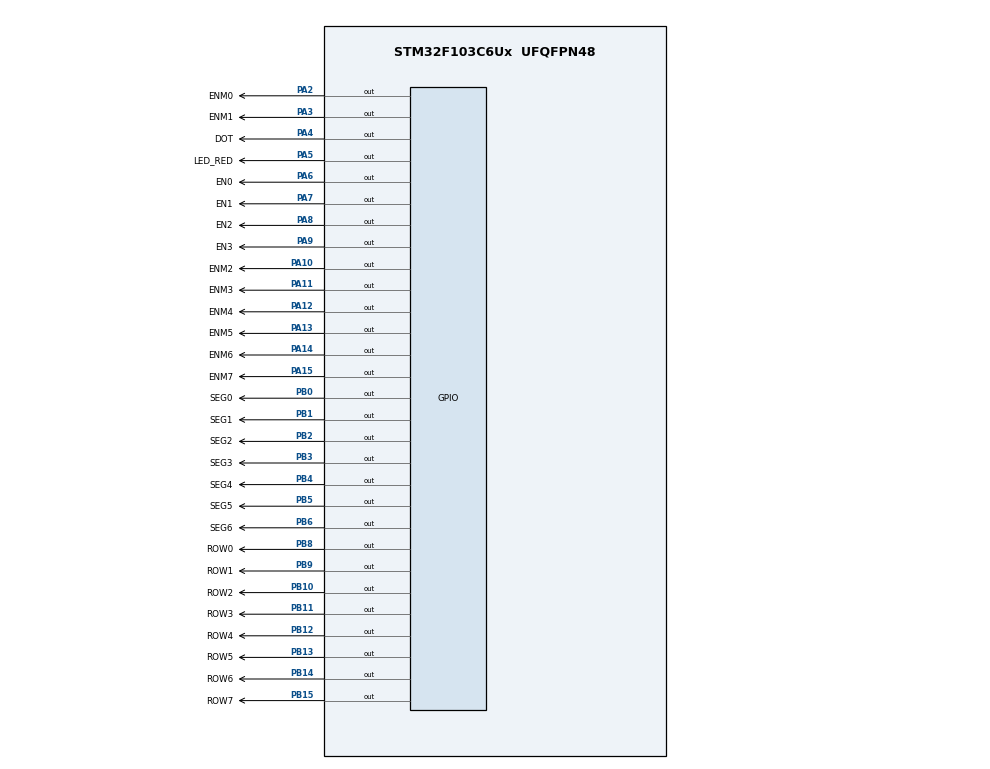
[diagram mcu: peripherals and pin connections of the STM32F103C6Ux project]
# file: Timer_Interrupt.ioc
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Mcu.Family=STM32F1
Mcu.Name=STM32F103C6Ux
Mcu.Package=UFQFPN48
NVIC.PriorityGroup=NVIC_PRIORITYGROUP_4
NVIC.TIM2_IRQn=true\:0\:0\:false\:false\:true\:true\:true
PA10.GPIO_Label=ENM2
PA10.Signal=GPIO_Output
PA11.GPIO_Label=ENM3
PA11.Signal=GPIO_Output
PA12.GPIO_Label=ENM4
PA12.Signal=GPIO_Output
PA13.GPIO_Label=ENM5
PA13.Signal=GPIO_Output
PA14.GPIO_Label=ENM6
PA14.Signal=GPIO_Output
PA15.GPIO_Label=ENM7
PA15.Signal=GPIO_Output
PA2.GPIO_Label=ENM0
PA2.Signal=GPIO_Output
PA3.GPIO_Label=ENM1
PA3.Signal=GPIO_Output
PA4.GPIO_Label=DOT
PA4.Signal=GPIO_Output
PA5.GPIO_Label=LED_RED
PA5.Signal=GPIO_Output
PA6.GPIO_Label=EN0
PA6.Signal=GPIO_Output
PA7.GPIO_Label=EN1
PA7.Signal=GPIO_Output
PA8.GPIO_Label=EN2
PA8.Signal=GPIO_Output
PA9.GPIO_Label=EN3
PA9.Signal=GPIO_Output
PB0.GPIO_Label=SEG0
PB0.Signal=GPIO_Output
PB1.GPIO_Label=SEG1
PB1.Signal=GPIO_Output
PB10.GPIO_Label=ROW2
PB10.Signal=GPIO_Output
PB11.GPIO_Label=ROW3
PB11.Signal=GPIO_Output
PB12.GPIO_Label=ROW4
PB12.Signal=GPIO_Output
PB13.GPIO_Label=ROW5
PB13.Signal=GPIO_Output
PB14.GPIO_Label=ROW6
PB14.Signal=GPIO_Output
PB15.GPIO_Label=ROW7
PB15.Signal=GPIO_Output
PB2.GPIO_Label=SEG2
PB2.Signal=GPIO_Output
PB3.GPIO_Label=SEG3
PB3.Signal=GPIO_Output
PB4.GPIO_Label=SEG4
PB4.Signal=GPIO_Output
PB5.GPIO_Label=SEG5
PB5.Signal=GPIO_Output
PB6.GPIO_Label=SEG6
PB6.Signal=GPIO_Output
PB8.GPIO_Label=ROW0
PB8.Signal=GPIO_Output
PB9.GPIO_Label=ROW1
PB9.Signal=GPIO_Output
ProjectManager.HeapSize=0x200
ProjectManager.StackSize=0x400
ProjectManager.TargetToolchain=STM32CubeIDE
RCC.APB1Freq_Value=8000000
RCC.APB2Freq_Value=8000000
TIM2.Period=9
TIM2.Prescaler=7999
VP_SYS_VS_ND.Mode=No_Debug
VP_TIM2_VS_ClockSourceINT.Mode=Internal
board=custom

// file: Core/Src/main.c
/* USER CODE BEGIN Header */
/**
  ******************************************************************************
  * @file           : main.c
  * @brief          : Main program body
  ******************************************************************************
  * @attention
  *
  * <h2><center>&copy; Copyright (c) 2023 STMicroelectronics.
  * All rights reserved.</center></h2>
  *
  * This software component is licensed by ST under BSD 3-Clause license,
  * the "License"; You may not use this file except in compliance with the
  * License. You may obtain a copy of the License at:
  *                        opensource.org/licenses/BSD-3-Clause
  *
  ******************************************************************************
  */
/* USER CODE END Header */
#include "main.h"

TIM_HandleTypeDef htim2;

void SystemClock_Config(void);
static void MX_GPIO_Init(void);
static void MX_TIM2_Init(void);

/* USER CODE BEGIN 0 */

int timer0_counter = 0;
int timer1_counter = 0;
int timer2_couter = 0;
int timer3_counter = 0;
int timer4_counter = 0;
int timer0_flag = 0;
int timer1_flag = 0;
int timer2_flag = 0;
int timer3_flag = 0;
int timer4_flag = 0;
int TIMER_CYCLE = 10;  //10ms

void setTimer0(int duration)
{
	timer0_counter = duration / TIMER_CYCLE;
	timer0_flag = 0;
}

void setTimer1(int duration)
{
	timer1_counter = duration / TIMER_CYCLE;
	timer1_flag = 0;
}

void setTimer2(int duration)
{
	timer2_couter = duration / TIMER_CYCLE;
	timer2_flag = 0;
}

void setTimer3(int duration)
{
	timer3_counter = duration / TIMER_CYCLE;
	timer3_flag = 0;
}

void setTimer4(int duration)
{
	timer4_counter = duration / TIMER_CYCLE;
	timer4_flag = 0;
}

void timer_run()
{
	if(timer0_counter > 0)
	{
		timer0_counter--;
		if(timer0_counter == 0) timer0_flag = 1;
	}

	if(timer1_counter > 0)
	{
		timer1_counter--;
		if(timer1_counter == 0) timer1_flag = 1;
	}

	if(timer2_couter > 0)
	{
		timer2_couter--;
		if(timer2_couter == 0) timer2_flag = 1;
	}

	if(timer3_counter > 0)
	{
		timer3_counter--;
		if(timer3_counter == 0) timer3_flag = 1;
	}

	if(timer4_counter > 0)
	{
		timer4_counter--;
		if(timer4_counter == 0) timer4_flag = 1;
	}
}

const int MAX_LED = 4;
int index_led = 0;  //from 0 to 3
int led_buffer[4] = {2, 3, 4, 5};

int hour, minute, second;

const int MAX_LED_MATRIX = 8;
int index_led_matrix = 0;
uint8_t matrix_buffer[8] = {0x01, 0x02, 0x03, 0x04,
		0x05, 0x06, 0x07, 0x08};

void display7SEG(int num);
void update7SEG(int index);
void updateClockBuffer();
void displayLEDMAtrix(uint8_t value);
void updateLEDMatrix(int index);
void updateMatrixAnimation();

void display7SEG(int num)
{
	if (num == 0)
	{
		HAL_GPIO_WritePin (GPIOB, SEG0_Pin|SEG1_Pin|SEG2_Pin|SEG3_Pin|SEG4_Pin|SEG5_Pin, GPIO_PIN_RESET);
		HAL_GPIO_WritePin (GPIOB, SEG6_Pin, GPIO_PIN_SET);
	}
	else if (num == 1)
	{
		HAL_GPIO_WritePin (GPIOB, SEG1_Pin|SEG2_Pin, GPIO_PIN_RESET);
		HAL_GPIO_WritePin (GPIOB, SEG0_Pin|SEG3_Pin|SEG4_Pin|SEG5_Pin|SEG6_Pin, GPIO_PIN_SET);
	}
	else if (num == 2)
	{
		HAL_GPIO_WritePin (GPIOB, SEG0_Pin|SEG1_Pin|SEG3_Pin|SEG4_Pin|SEG6_Pin, GPIO_PIN_RESET);
		HAL_GPIO_WritePin (GPIOB, SEG2_Pin|SEG5_Pin, GPIO_PIN_SET);
	}
	else if (num == 3)
	{
		HAL_GPIO_WritePin (GPIOB, SEG0_Pin|SEG1_Pin|SEG2_Pin|SEG3_Pin|SEG6_Pin, GPIO_PIN_RESET);
		HAL_GPIO_WritePin (GPIOB, SEG4_Pin|SEG5_Pin, GPIO_PIN_SET);
	}
	else if (num == 4)
	{
		HAL_GPIO_WritePin (GPIOB, SEG1_Pin|SEG2_Pin|SEG5_Pin|SEG6_Pin, GPIO_PIN_RESET);
		HAL_GPIO_WritePin (GPIOB, SEG0_Pin|SEG3_Pin|SEG4_Pin, GPIO_PIN_SET);
	}
	else if (num == 5)
	{
		HAL_GPIO_WritePin (GPIOB, SEG0_Pin|SEG2_Pin|SEG3_Pin|SEG5_Pin|SEG6_Pin, GPIO_PIN_RESET);
		HAL_GPIO_WritePin (GPIOB, SEG1_Pin|SEG4_Pin, GPIO_PIN_SET);
	}
	else if (num == 6)
	{
		HAL_GPIO_WritePin (GPIOB, SEG0_Pin|SEG2_Pin|SEG3_Pin|SEG4_Pin|SEG5_Pin|SEG6_Pin, GPIO_PIN_RESET);
		HAL_GPIO_WritePin (GPIOB, SEG1_Pin, GPIO_PIN_SET);
	}
	else if (num == 7)
	{
		HAL_GPIO_WritePin (GPIOB, SEG0_Pin|SEG1_Pin|SEG2_Pin, GPIO_PIN_RESET);
		HAL_GPIO_WritePin (GPIOB, SEG3_Pin|SEG4_Pin|SEG5_Pin|SEG6_Pin, GPIO_PIN_SET);
	}
	else if (num == 8)
	{
		HAL_GPIO_WritePin (GPIOB, SEG0_Pin|SEG1_Pin|SEG2_Pin|SEG3_Pin|SEG4_Pin|SEG5_Pin|SEG6_Pin, GPIO_PIN_RESET);
	}
	else
	{
		HAL_GPIO_WritePin (GPIOB, SEG0_Pin|SEG1_Pin|SEG2_Pin|SEG3_Pin|SEG5_Pin|SEG6_Pin, GPIO_PIN_RESET);
		HAL_GPIO_WritePin (GPIOB, SEG4_Pin, GPIO_PIN_SET);
	}
}

void update7SEG(int index)
{
	display7SEG(led_buffer[index]);
	switch (index) {
		case 0:
			//Display the first 7SEG with led_buffer[0]
			HAL_GPIO_WritePin(EN0_GPIO_Port, EN0_Pin, RESET);
			HAL_GPIO_WritePin(EN1_GPIO_Port, EN1_Pin, SET);
			HAL_GPIO_WritePin(EN2_GPIO_Port, EN2_Pin, SET);
			HAL_GPIO_WritePin(EN3_GPIO_Port, EN3_Pin, SET);
			break;

		case 1:
			//Display the first 7SEG with led_buffer[1]
			HAL_GPIO_WritePin(EN0_GPIO_Port, EN0_Pin, SET);
			HAL_GPIO_WritePin(EN1_GPIO_Port, EN1_Pin, RESET);
			HAL_GPIO_WritePin(EN2_GPIO_Port, EN2_Pin, SET);
			HAL_GPIO_WritePin(EN3_GPIO_Port, EN3_Pin, SET);
			break;
		case 2:
			//Display the first 7SEG with led_buffer[2]
			HAL_GPIO_WritePin(EN0_GPIO_Port, EN0_Pin, SET);
			HAL_GPIO_WritePin(EN1_GPIO_Port, EN1_Pin, SET);
			HAL_GPIO_WritePin(EN2_GPIO_Port, EN2_Pin, RESET);
			HAL_GPIO_WritePin(EN3_GPIO_Port, EN3_Pin, SET);
			break;
		case 3:
			//Display the first 7SEG with led_buffer[3]
			HAL_GPIO_WritePin(EN0_GPIO_Port, EN0_Pin, SET);
			HAL_GPIO_WritePin(EN1_GPIO_Port, EN1_Pin, SET);
			HAL_GPIO_WritePin(EN2_GPIO_Port, EN2_Pin, SET);
			HAL_GPIO_WritePin(EN3_GPIO_Port, EN3_Pin, RESET);
			break;
		default:
			break;
	}
}

void updateClockBuffer()
{
	//Retrieve the tens digit of the variable 'hour'
	led_buffer[0] = hour / 10;
	//Retrieve the units digit of the variable 'hour'
	led_buffer[1] = hour % 10;
	//Retrieve the tens digit of the variable 'minute'
	led_buffer[2] = minute / 10;
	//Retrieve the units digit of the variable 'minute'
	led_buffer[3] = minute % 10;
}

/*
 * Display character A:
 * 0 0 0 1 1 0 0 0
 * 0 0 1 1 1 1 0 0
 * 0 1 1 0 0 1 1 0
 * 0 1 1 0 0 1 1 0
 * 0 1 1 1 1 1 1 0
 * 0 1 1 1 1 1 1 0
 * 0 1 1 0 0 1 1 0
 * 0 1 1 0 0 1 1 0
 */

void displayLEDMatrix(uint8_t value)
{
	switch (value) {
	case 0x01:
		HAL_GPIO_WritePin (GPIOB, ROW0_Pin|ROW1_Pin|ROW2_Pin|ROW3_Pin|ROW4_Pin
				|ROW5_Pin|ROW6_Pin|ROW7_Pin, GPIO_PIN_SET);
		break;
	case 0x02:
		HAL_GPIO_WritePin (GPIOB, ROW0_Pin|ROW1_Pin, GPIO_PIN_SET);
		HAL_GPIO_WritePin (GPIOB, ROW2_Pin|ROW3_Pin|ROW4_Pin
				|ROW5_Pin|ROW6_Pin|ROW7_Pin, GPIO_PIN_RESET);
		break;
	case 0x03:
		HAL_GPIO_WritePin (GPIOB, ROW0_Pin, GPIO_PIN_SET);
		HAL_GPIO_WritePin (GPIOB, ROW1_Pin|ROW2_Pin|ROW3_Pin|ROW4_Pin
				|ROW5_Pin|ROW6_Pin|ROW7_Pin, GPIO_PIN_RESET);
		break;
	case 0x04:
		HAL_GPIO_WritePin (GPIOB, ROW2_Pin|ROW3_Pin|ROW6_Pin|ROW7_Pin, GPIO_PIN_SET);
		HAL_GPIO_WritePin (GPIOB, ROW0_Pin|ROW1_Pin|ROW4_Pin|ROW5_Pin, GPIO_PIN_RESET);
		break;
	case 0x05:
		HAL_GPIO_WritePin (GPIOB, ROW2_Pin|ROW3_Pin|ROW6_Pin|ROW7_Pin, GPIO_PIN_SET);
		HAL_GPIO_WritePin (GPIOB, ROW0_Pin|ROW1_Pin|ROW4_Pin|ROW5_Pin, GPIO_PIN_RESET);
		break;
	case 0x06:
		HAL_GPIO_WritePin (GPIOB, ROW0_Pin, GPIO_PIN_SET);
		HAL_GPIO_WritePin (GPIOB, ROW1_Pin|ROW2_Pin|ROW3_Pin|ROW4_Pin
				|ROW5_Pin|ROW6_Pin|ROW7_Pin, GPIO_PIN_RESET);
		break;
	case 0x07:
		HAL_GPIO_WritePin (GPIOB, ROW0_Pin|ROW1_Pin, GPIO_PIN_SET);
		HAL_GPIO_WritePin (GPIOB, ROW2_Pin|ROW3_Pin|ROW4_Pin
				|ROW5_Pin|ROW6_Pin|ROW7_Pin, GPIO_PIN_RESET);
		break;
	case 0x08:
		HAL_GPIO_WritePin (GPIOB, ROW0_Pin|ROW1_Pin|ROW2_Pin|ROW3_Pin|ROW4_Pin
				|ROW5_Pin|ROW6_Pin|ROW7_Pin, GPIO_PIN_SET);
		break;
	default:
		HAL_GPIO_WritePin (GPIOB, ROW0_Pin|ROW1_Pin|ROW2_Pin|ROW3_Pin|ROW4_Pin
				|ROW5_Pin|ROW6_Pin|ROW7_Pin, GPIO_PIN_SET);
		break;
	}
}

void updateLEDMatrix(int value)
{
	switch (value){
		case 0:
			HAL_GPIO_WritePin (GPIOA, ENM0_Pin, GPIO_PIN_RESET);
			HAL_GPIO_WritePin (GPIOA, ENM1_Pin|ENM2_Pin|ENM3_Pin|ENM4_Pin
					|ENM5_Pin|ENM6_Pin|ENM7_Pin, GPIO_PIN_SET);
			break;
		case 1:
			HAL_GPIO_WritePin (GPIOA, ENM1_Pin, GPIO_PIN_RESET);
			HAL_GPIO_WritePin (GPIOA, ENM0_Pin|ENM2_Pin|ENM3_Pin|ENM4_Pin
					|ENM5_Pin|ENM6_Pin|ENM7_Pin, GPIO_PIN_SET);
			break;
		case 2:
			HAL_GPIO_WritePin (GPIOA, ENM2_Pin, GPIO_PIN_RESET);
			HAL_GPIO_WritePin (GPIOA, ENM0_Pin|ENM1_Pin|ENM3_Pin|ENM4_Pin
					|ENM5_Pin|ENM6_Pin|ENM7_Pin, GPIO_PIN_SET);
			break;
		case 3:
			HAL_GPIO_WritePin (GPIOA, ENM3_Pin, GPIO_PIN_RESET);
			HAL_GPIO_WritePin (GPIOA, ENM0_Pin|ENM1_Pin|ENM2_Pin|ENM4_Pin
					|ENM5_Pin|ENM6_Pin|ENM7_Pin, GPIO_PIN_SET);
			break;
		case 4:
			HAL_GPIO_WritePin (GPIOA, ENM4_Pin, GPIO_PIN_RESET);
			HAL_GPIO_WritePin (GPIOA, ENM0_Pin|ENM1_Pin|ENM2_Pin|ENM3_Pin
					|ENM5_Pin|ENM6_Pin|ENM7_Pin, GPIO_PIN_SET);
			break;
		case 5:
			HAL_GPIO_WritePin (GPIOA, ENM5_Pin, GPIO_PIN_RESET);
			HAL_GPIO_WritePin (GPIOA, ENM0_Pin|ENM1_Pin|ENM2_Pin|ENM3_Pin
					|ENM4_Pin|ENM6_Pin|ENM7_Pin, GPIO_PIN_SET);
			break;
		case 6:
			HAL_GPIO_WritePin (GPIOA, ENM6_Pin, GPIO_PIN_RESET);
			HAL_GPIO_WritePin (GPIOA, ENM0_Pin|ENM1_Pin|ENM2_Pin|ENM3_Pin
					|ENM4_Pin|ENM5_Pin|ENM7_Pin, GPIO_PIN_SET);
			break;
		case 7:
			HAL_GPIO_WritePin (GPIOA, ENM7_Pin, GPIO_PIN_RESET);
			HAL_GPIO_WritePin (GPIOA, ENM0_Pin|ENM1_Pin|ENM2_Pin|ENM3_Pin
					|ENM4_Pin|ENM5_Pin|ENM6_Pin, GPIO_PIN_SET);
			break;
		default:
			break;
	}
	displayLEDMatrix(matrix_buffer[value]);
}

uint8_t temp;
//The updateMatrixAnimation function is used to shift "A" upward
void updateMatrixAnimation()
{
	temp = matrix_buffer[0];
	matrix_buffer[0] = matrix_buffer[1];
	matrix_buffer[1] = matrix_buffer[2];
	matrix_buffer[2] = matrix_buffer[3];
	matrix_buffer[3] = matrix_buffer[4];
	matrix_buffer[4] = matrix_buffer[5];
	matrix_buffer[5] = matrix_buffer[6];
	matrix_buffer[6] = matrix_buffer[7];
	matrix_buffer[7] = temp;
}

/* USER CODE END 0 */

int main(void)
{

  /* MCU Configuration--------------------------------------------------------*/

  /* Reset of all peripherals, Initializes the Flash interface and the Systick. */
  HAL_Init();

  /* Configure the system clock */
  SystemClock_Config();

  /* Initialize all configured peripherals */
  MX_GPIO_Init();
  MX_TIM2_Init();
  /* USER CODE BEGIN 2 */
  HAL_TIM_Base_Start_IT(&htim2);
  /* USER CODE END 2 */

  /* Infinite loop */
  /* USER CODE BEGIN WHILE */

  setTimer0(1000);  // 1 second - Toggle LED_RED & DOT
  setTimer1(1000);  // 1 second - UpdateClockBuffer
  setTimer2(250);   // 0.25 second - Update7SEG
  setTimer3(100);   // 0.1 second - The LED needs to be scanned quickly to
  	  	  	  	  	// easily visualize the character A
  setTimer4(2000);   //2 seconds - create an animation on LED matrix

  hour = 15, minute = 8, second = 50;
  while (1)
  {
	  if(timer0_flag == 1)
	  {
		  HAL_GPIO_TogglePin(LED_RED_GPIO_Port, LED_RED_Pin);
		  HAL_GPIO_TogglePin(DOT_GPIO_Port, DOT_Pin);
		  setTimer0(1000);
	  }

	  updateClockBuffer();
	  if(timer1_flag == 1)
	  {
		  second++;
		  if(second >= 60){
			  second = 0;
			  minute++;
		  }
		  if(minute >= 60){
			  minute = 0;
			  hour++;
		  }
		  if(hour >= 24){
			  hour = 0;
		  }
		  updateClockBuffer();
		  setTimer1(1000);
	  }

	  if(timer2_flag == 1)
	  {
			update7SEG(index_led++);
			if(index_led >= MAX_LED) index_led = 0;
			setTimer2(250);
	  }

	  if(timer3_flag == 1)
	  {
		  updateLEDMatrix(index_led_matrix++);
		  if(index_led_matrix >= 8) index_led_matrix = 0;
		  setTimer3(100);
	  }

	  if(timer4_flag == 1)
	  {
		  setTimer4(2000);
		  updateMatrixAnimation();
	  }

    /* USER CODE END WHILE */

  }
}

void SystemClock_Config(void)
{
  RCC_OscInitTypeDef RCC_OscInitStruct = {0};
  RCC_ClkInitTypeDef RCC_ClkInitStruct = {0};

  /** Initializes the RCC Oscillators according to the specified parameters
  * in the RCC_OscInitTypeDef structure.
  */
  RCC_OscInitStruct.OscillatorType = RCC_OSCILLATORTYPE_HSI;
  RCC_OscInitStruct.HSIState = RCC_HSI_ON;
  RCC_OscInitStruct.HSICalibrationValue = RCC_HSICALIBRATION_DEFAULT;
  RCC_OscInitStruct.PLL.PLLState = RCC_PLL_NONE;
  if (HAL_RCC_OscConfig(&RCC_OscInitStruct) != HAL_OK)
  {
    Error_Handler();
  }
  /** Initializes the CPU, AHB and APB buses clocks
  */
  RCC_ClkInitStruct.ClockType = RCC_CLOCKTYPE_HCLK|RCC_CLOCKTYPE_SYSCLK
                              |RCC_CLOCKTYPE_PCLK1|RCC_CLOCKTYPE_PCLK2;
  RCC_ClkInitStruct.SYSCLKSource = RCC_SYSCLKSOURCE_HSI;
  RCC_ClkInitStruct.AHBCLKDivider = RCC_SYSCLK_DIV1;
  RCC_ClkInitStruct.APB1CLKDivider = RCC_HCLK_DIV1;
  RCC_ClkInitStruct.APB2CLKDivider = RCC_HCLK_DIV1;

  if (HAL_RCC_ClockConfig(&RCC_ClkInitStruct, FLASH_LATENCY_0) != HAL_OK)
  {
    Error_Handler();
  }
}

static void MX_TIM2_Init(void)
{

  TIM_ClockConfigTypeDef sClockSourceConfig = {0};
  TIM_MasterConfigTypeDef sMasterConfig = {0};

  htim2.Instance = TIM2;
  htim2.Init.Prescaler = 7999;
  htim2.Init.CounterMode = TIM_COUNTERMODE_UP;
  htim2.Init.Period = 9;
  htim2.Init.ClockDivision = TIM_CLOCKDIVISION_DIV1;
  htim2.Init.AutoReloadPreload = TIM_AUTORELOAD_PRELOAD_DISABLE;
  if (HAL_TIM_Base_Init(&htim2) != HAL_OK)
  {
    Error_Handler();
  }
  sClockSourceConfig.ClockSource = TIM_CLOCKSOURCE_INTERNAL;
  if (HAL_TIM_ConfigClockSource(&htim2, &sClockSourceConfig) != HAL_OK)
  {
    Error_Handler();
  }
  sMasterConfig.MasterOutputTrigger = TIM_TRGO_RESET;
  sMasterConfig.MasterSlaveMode = TIM_MASTERSLAVEMODE_DISABLE;
  if (HAL_TIMEx_MasterConfigSynchronization(&htim2, &sMasterConfig) != HAL_OK)
  {
    Error_Handler();
  }

}

static void MX_GPIO_Init(void)
{
  GPIO_InitTypeDef GPIO_InitStruct = {0};

  /* GPIO Ports Clock Enable */
  __HAL_RCC_GPIOA_CLK_ENABLE();
  __HAL_RCC_GPIOB_CLK_ENABLE();

  /*Configure GPIO pin Output Level */
  HAL_GPIO_WritePin(GPIOA, ENM0_Pin|ENM1_Pin|DOT_Pin|LED_RED_Pin
                          |EN0_Pin|EN1_Pin|EN2_Pin|EN3_Pin
                          |ENM2_Pin|ENM3_Pin|ENM4_Pin|ENM5_Pin
                          |ENM6_Pin|ENM7_Pin, GPIO_PIN_RESET);

  /*Configure GPIO pin Output Level */
  HAL_GPIO_WritePin(GPIOB, SEG0_Pin|SEG1_Pin|SEG2_Pin|ROW2_Pin
                          |ROW3_Pin|ROW4_Pin|ROW5_Pin|ROW6_Pin
                          |ROW7_Pin|SEG3_Pin|SEG4_Pin|SEG5_Pin
                          |SEG6_Pin|ROW0_Pin|ROW1_Pin, GPIO_PIN_RESET);

  /*Configure GPIO pins : ENM0_Pin ENM1_Pin DOT_Pin LED_RED_Pin
                           EN0_Pin EN1_Pin EN2_Pin EN3_Pin
                           ENM2_Pin ENM3_Pin ENM4_Pin ENM5_Pin
                           ENM6_Pin ENM7_Pin */
  GPIO_InitStruct.Pin = ENM0_Pin|ENM1_Pin|DOT_Pin|LED_RED_Pin
                          |EN0_Pin|EN1_Pin|EN2_Pin|EN3_Pin
                          |ENM2_Pin|ENM3_Pin|ENM4_Pin|ENM5_Pin
                          |ENM6_Pin|ENM7_Pin;
  GPIO_InitStruct.Mode = GPIO_MODE_OUTPUT_PP;
  GPIO_InitStruct.Pull = GPIO_NOPULL;
  GPIO_InitStruct.Speed = GPIO_SPEED_FREQ_LOW;
  HAL_GPIO_Init(GPIOA, &GPIO_InitStruct);

  /*Configure GPIO pins : SEG0_Pin SEG1_Pin SEG2_Pin ROW2_Pin
                           ROW3_Pin ROW4_Pin ROW5_Pin ROW6_Pin
                           ROW7_Pin SEG3_Pin SEG4_Pin SEG5_Pin
                           SEG6_Pin ROW0_Pin ROW1_Pin */
  GPIO_InitStruct.Pin = SEG0_Pin|SEG1_Pin|SEG2_Pin|ROW2_Pin
                          |ROW3_Pin|ROW4_Pin|ROW5_Pin|ROW6_Pin
                          |ROW7_Pin|SEG3_Pin|SEG4_Pin|SEG5_Pin
                          |SEG6_Pin|ROW0_Pin|ROW1_Pin;
  GPIO_InitStruct.Mode = GPIO_MODE_OUTPUT_PP;
  GPIO_InitStruct.Pull = GPIO_NOPULL;
  GPIO_InitStruct.Speed = GPIO_SPEED_FREQ_LOW;
  HAL_GPIO_Init(GPIOB, &GPIO_InitStruct);

}

/* USER CODE BEGIN 4 */
void HAL_TIM_PeriodElapsedCallback(TIM_HandleTypeDef *htim)
{
	timer_run();
}
/* USER CODE END 4 */

void Error_Handler(void)
{
  __disable_irq();
  while (1)
  {
  }
}

/************************ (C) COPYRIGHT STMicroelectronics *****END OF FILE****/
